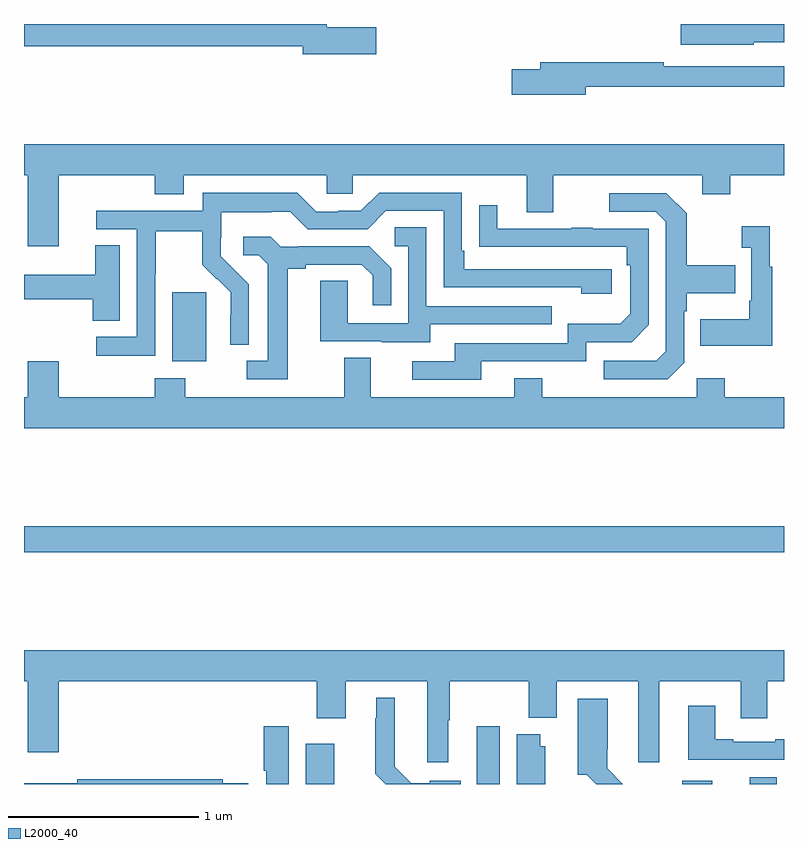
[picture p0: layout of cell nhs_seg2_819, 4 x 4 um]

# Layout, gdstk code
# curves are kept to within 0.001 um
import gdstk
lib = gdstk.Library(unit=1e-6, precision=1e-09)
def R(c, l, rs):  # rectangles x0, y0, x1, y1
    for r in rs: c.add(gdstk.rectangle(r[:2], r[2:], *l))
def P(c, l, *ps):  # polygons
    for p in ps: c.add(gdstk.Polygon(p, *l))
L2000_40 = (2000, 40)

nhs_seg2_819 = lib.new_cell('nhs_seg2_819')
R(nhs_seg2_819, L2000_40, [(154.484,609.8,154.633,610.012), (155.384,609.8,155.503,610.105), (156.464,609.8,156.622,609.817), (156.821,609.8,156.961,609.835), (153,611.02,157,611.156), (153.779,612.026,153.958,612.387)])
P(nhs_seg2_819, L2000_40, [(156.84,613.704),(157,613.704),(157,613.8),(156.456,613.8),(156.456,613.691),(156.84,613.691)],
  [(154.855,613.784),(154.594,613.784),(154.594,613.8),(153,613.8),(153,613.684),(154.466,613.684),(154.466,613.642),(154.855,613.642)],
  [(155.956,613.47),(157,613.47),(157,613.578),(156.368,613.578),(156.368,613.598),(155.717,613.598),(155.717,613.562),(155.568,613.562),(155.568,613.427),(155.956,613.427)],
  [(153,613.004),(153.02,613.004),(153.02,612.63),(153.184,612.63),(153.184,613.004),(153.689,613.004),(153.689,612.905),(153.841,612.905),(153.841,613.004),(154.593,613.004),(154.593,612.906),(154.731,612.906),(154.731,613.004),(155.645,613.004),(155.645,612.81),(155.785,612.81),(155.785,613.004),(156.569,613.004),(156.569,612.905),(156.717,612.905),(156.717,613.004),(157,613.004),(157,613.168),(153,613.168)],
  [(153.69,612.484),(153.693,612.484),(153.693,612.708),(153.937,612.708),(153.937,612.533),(154.014,612.456),(154.017,612.459),(154.088,612.389),(154.088,612.266),(154.086,612.266),(154.086,612.112),(154.182,612.112),(154.182,612.43),(154.036,612.578),(154.036,612.675),(154.038,612.675),(154.038,612.809),(154.301,612.809),(154.301,612.813),(154.401,612.813),(154.494,612.72),(154.809,612.72),(154.905,612.816),(155.208,612.816),(155.208,612.414),(155.933,612.414),(155.933,612.38),(156.094,612.38),(156.094,612.51),(155.317,612.51),(155.317,612.607),(155.304,612.607),(155.304,612.912),(154.869,612.912),(154.773,612.816),(154.655,612.816),(154.655,612.813),(154.539,612.813),(154.439,612.913),(153.942,612.913),(153.942,612.816),(153.381,612.816),(153.381,612.72),(153.594,612.72),(153.594,612.153),(153.381,612.153),(153.381,612.055),(153.69,612.055)],
  [(156.474,612.018),(156.474,612.287),(156.487,612.287),(156.487,612.383),(156.743,612.383),(156.743,612.531),(156.487,612.531),(156.487,612.803),(156.381,612.909),(156.081,612.909),(156.081,612.813),(156.324,612.813),(156.378,612.759),(156.378,612.078),(156.327,612.027),(156.051,612.027),(156.051,611.931),(156.387,611.931)],
  [(155.407,612.024),(155.958,612.024),(155.958,612.126),(156.198,612.126),(156.288,612.216),(156.288,612.723),(155.993,612.723),(155.993,612.728),(155.881,612.728),(155.881,612.723),(155.491,612.723),(155.491,612.847),(155.395,612.847),(155.395,612.628),(156.172,612.627),(156.172,612.53),(156.192,612.53),(156.192,612.276),(156.139,612.223),(155.862,612.223),(155.862,612.12),(155.267,612.12),(155.267,612.024),(155.043,612.024),(155.043,611.928),(155.407,611.928)],
  [(156.937,612.523),(156.925,612.523),(156.925,612.736),(156.777,612.736),(156.777,612.623),(156.828,612.623),(156.828,612.343),(156.816,612.343),(156.816,612.247),(156.559,612.247),(156.559,612.107),(156.937,612.107)],
  [(155.137,612.219),(155.777,612.219),(155.777,612.315),(155.118,612.315),(155.118,612.731),(154.95,612.731),(154.95,612.63),(155.022,612.63),(155.022,612.225),(154.704,612.225),(154.704,612.449),(154.559,612.449),(154.559,612.129),(154.883,612.129),(154.883,612.125),(155.137,612.125)],
  [(154.387,612.512),(154.483,612.512),(154.483,612.534),(154.778,612.534),(154.835,612.477),(154.835,612.321),(154.932,612.321),(154.932,612.514),(154.816,612.63),(154.444,612.63),(154.444,612.627),(154.35,612.627),(154.298,612.679),(154.155,612.679),(154.155,612.582),(154.236,612.582),(154.283,612.535),(154.283,612.027),(154.173,612.027),(154.173,611.931),(154.387,611.931)],
  [(153.505,612.635),(153.374,612.635),(153.374,612.481),(153,612.481),(153,612.352),(153.362,612.352),(153.362,612.238),(153.505,612.238)],
  [(157,611.836),(156.687,611.836),(156.687,611.935),(156.54,611.935),(156.54,611.836),(155.727,611.836),(155.727,611.935),(155.579,611.935),(155.579,611.836),(154.825,611.836),(154.825,612.044),(154.685,612.044),(154.685,611.836),(153.849,611.836),(153.849,611.935),(153.689,611.935),(153.689,611.836),(153.184,611.836),(153.184,612.025),(153.02,612.025),(153.02,611.836),(153,611.836),(153,611.672),(157,611.672)],
  [(155.233,610.136),(155.241,610.136),(155.241,610.34),(155.656,610.34),(155.656,610.148),(155.803,610.148),(155.803,610.34),(156.233,610.34),(156.233,609.915),(156.343,609.915),(156.343,610.34),(156.773,610.34),(156.773,610.146),(156.913,610.146),(156.913,610.34),(157,610.34),(157,610.504),(153,610.504),(153,610.34),(153.02,610.34),(153.02,609.966),(153.184,609.966),(153.184,610.34),(154.541,610.34),(154.541,610.146),(154.693,610.146),(154.693,610.34),(155.123,610.34),(155.123,609.915),(155.233,609.915)],
  [(155.299,609.817),(155.136,609.817),(155.136,609.805),(155.037,609.805),(154.951,609.892),(154.951,610.255),(154.853,610.255),(154.853,610.145),(154.849,610.145),(154.849,609.854),(154.903,609.8),(155.299,609.8)],
  [(156.069,609.883),(156.069,609.982),(156.073,609.982),(156.073,610.249),(155.915,610.249),(155.915,609.85),(155.963,609.85),(156.013,609.8),(156.152,609.8)],
  [(157,610.036),(156.953,610.036),(156.953,610.023),(156.733,610.023),(156.733,610.036),(156.637,610.036),(156.637,610.213),(156.497,610.213),(156.497,609.927),(157,609.927)],
  [(154.393,610.105),(154.262,610.105),(154.262,609.871),(154.274,609.871),(154.274,609.8),(154.393,609.8)],
  [(155.743,609.999),(155.716,609.999),(155.716,610.063),(155.594,610.063),(155.594,609.8),(155.743,609.8)],
  [(154.18,609.804),(154.046,609.804),(154.046,609.824),(153.28,609.824),(153.28,609.805),(153,609.805),(153,609.8),(154.18,609.8)])

lib.write_gds('nhs_seg2_819.gds')
